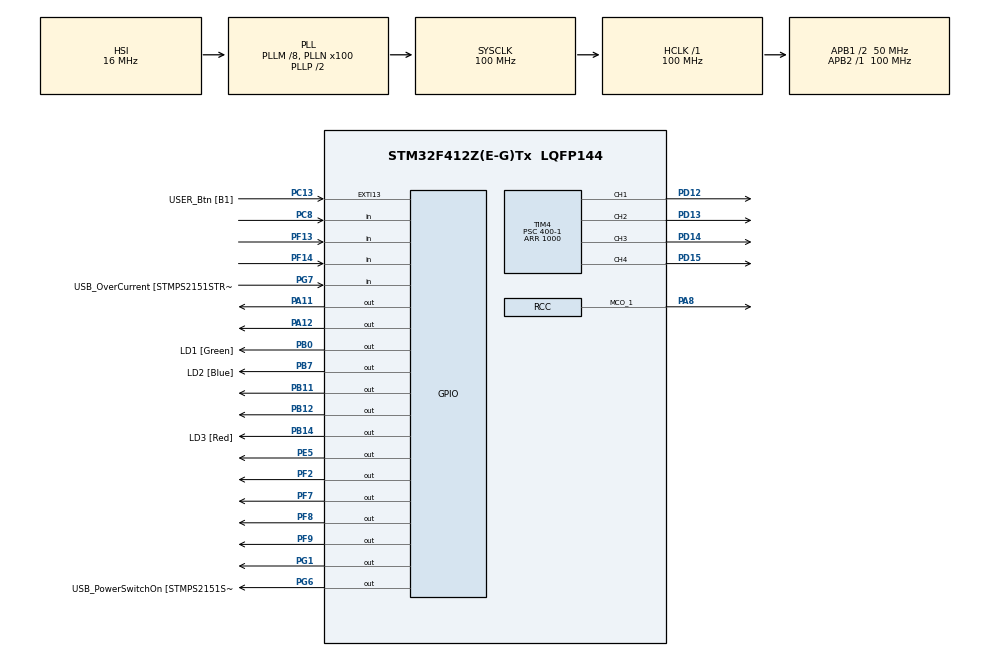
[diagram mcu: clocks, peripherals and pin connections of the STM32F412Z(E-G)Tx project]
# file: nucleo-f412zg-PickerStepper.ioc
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Mcu.Family=STM32F4
Mcu.Name=STM32F412Z(E-G)Tx
Mcu.Package=LQFP144
NVIC.PriorityGroup=NVIC_PRIORITYGROUP_4
NVIC.TIM8_TRG_COM_TIM14_IRQn=true\:15\:0\:false\:false\:true\:false\:true\:true
NVIC.TimeBase=TIM8_TRG_COM_TIM14_IRQn
NVIC.TimeBaseIP=TIM14
PA11.Signal=GPIO_Output
PA12.Signal=GPIO_Output
PA13.GPIO_Label=TMS
PA13.Mode=Serial_Wire
PA13.Signal=SYS_JTMS-SWDIO
PA14.GPIO_Label=TCK
PA14.Mode=Serial_Wire
PA14.Signal=SYS_JTCK-SWCLK
PA8.Mode=Clock-out-1
PA8.Signal=RCC_MCO_1
PB0.GPIO_Label=LD1 [Green]
PB0.Signal=GPIO_Output
PB11.Signal=GPIO_Output
PB12.Signal=GPIO_Output
PB14.GPIO_Label=LD3 [Red]
PB14.Signal=GPIO_Output
PB3.GPIO_Label=SWO
PB3.Signal=SYS_JTDO-SWO
PB7.GPIO_Label=LD2 [Blue]
PB7.Signal=GPIO_Output
PC13.GPIO_Label=USER_Btn [B1]
PC13.Signal=GPXTI13
PC14-OSC32_IN.Mode=LSE-External-Oscillator
PC14-OSC32_IN.Signal=RCC_OSC32_IN
PC15-OSC32_OUT.Mode=LSE-External-Oscillator
PC15-OSC32_OUT.Signal=RCC_OSC32_OUT
PC8.Signal=GPIO_Input
PD12.Signal=S_TIM4_CH1
PD13.Signal=S_TIM4_CH2
PD14.Signal=S_TIM4_CH3
PD15.Signal=S_TIM4_CH4
PD8.GPIO_Label=STLK_RX [STM32F103CBT6_PA3]
PD8.Signal=USART3_TX
PD9.GPIO_Label=STLK_TX [STM32F103CBT6_PA2]
PD9.Signal=USART3_RX
PE5.Signal=GPIO_Output
PF13.GPIO_PuPd=GPIO_PULLDOWN
PF13.Signal=GPIO_Input
PF14.GPIO_PuPd=GPIO_PULLDOWN
PF14.Signal=GPIO_Input
PF2.Signal=GPIO_Output
PF7.Signal=GPIO_Output
PF8.GPIO_ModeDefaultOutputPP=GPIO_MODE_OUTPUT_PP
PF8.GPIO_PuPd=GPIO_NOPULL
PF8.GPIO_Speed=GPIO_SPEED_FREQ_LOW
PF8.PinState=GPIO_PIN_RESET
PF8.Signal=GPIO_Output
PF9.Signal=GPIO_Output
PG1.Signal=GPIO_Output
PG6.GPIO_Label=USB_PowerSwitchOn [STMPS2151STR_EN]
PG6.Signal=GPIO_Output
PG7.GPIO_Label=USB_OverCurrent [STMPS2151STR_FAULT]
PG7.Signal=GPIO_Input
PH0\ -\ OSC_IN.GPIO_Label=MCO
PH0\ -\ OSC_IN.Mode=HSE-External-Oscillator
PH0\ -\ OSC_IN.Signal=RCC_OSC_IN
PH1\ -\ OSC_OUT.Mode=HSE-External-Oscillator
PH1\ -\ OSC_OUT.Signal=RCC_OSC_OUT
ProjectManager.HeapSize=0x200
ProjectManager.StackSize=0x400
ProjectManager.TargetToolchain=STM32CubeIDE
RCC.48MHZClocksFreq_Value=24000000
RCC.AHBFreq_Value=100000000
RCC.APB1CLKDivider=RCC_HCLK_DIV2
RCC.APB1Freq_Value=50000000
RCC.APB1TimFreq_Value=100000000
RCC.APB2Freq_Value=100000000
RCC.APB2TimFreq_Value=100000000
RCC.CortexFreq_Value=100000000
RCC.HCLKFreq_Value=100000000
RCC.HSE_VALUE=8000000
RCC.HSI_VALUE=16000000
RCC.PLLM=8
RCC.PLLMUL=RCC_PLL_MUL9
RCC.PLLN=100
RCC.PLLQ=8
RCC.PRESCALERUSB=RCC_USBCLKSOURCE_PLL_DIV1_5
RCC.SYSCLKFreq_VALUE=100000000
RCC.SYSCLKSource=RCC_SYSCLKSOURCE_PLLCLK
RCC.SYSCLKSourceVirtual=RCC_SYSCLKSOURCE_PLLCLK
RCC.USBFreq_Value=25000000
RCC.VCOOutputFreq_Value=200000000
SH.S_TIM4_CH1.0=TIM4_CH1,PWM Generation1 CH1
SH.S_TIM4_CH2.0=TIM4_CH2,PWM Generation2 CH2
SH.S_TIM4_CH3.0=TIM4_CH3,PWM Generation3 CH3
SH.S_TIM4_CH4.0=TIM4_CH4,PWM Generation4 CH4
TIM4.Channel-PWM\ Generation1\ CH1=TIM_CHANNEL_1
TIM4.Channel-PWM\ Generation2\ CH2=TIM_CHANNEL_2
TIM4.Channel-PWM\ Generation3\ CH3=TIM_CHANNEL_3
TIM4.Channel-PWM\ Generation4\ CH4=TIM_CHANNEL_4
TIM4.Period=1000
TIM4.Prescaler=400-1
TIM4.Pulse-PWM\ Generation1\ CH1=500
TIM4.Pulse-PWM\ Generation2\ CH2=500
TIM4.Pulse-PWM\ Generation3\ CH3=500
TIM4.Pulse-PWM\ Generation4\ CH4=500
VP_SYS_VS_tim14.Mode=TIM14
board=NUCLEO-F412ZG

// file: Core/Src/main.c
/* USER CODE BEGIN Header */
/**
 ******************************************************************************
 * @file           : main.c
 * @brief          : Main program body
 ******************************************************************************
 * @attention
 *
 * Copyright (c) 2023 STMicroelectronics.
 * All rights reserved.
 *
 * This software is licensed under terms that can be found in the LICENSE file
 * in the root directory of this software component.
 * If no LICENSE file comes with this software, it is provided AS-IS.
 *
 ******************************************************************************
 */
/* USER CODE END Header */
#include "main.h"

/* USER CODE BEGIN Includes */
#include <stdbool.h>
#include <stdio.h>
/* USER CODE END Includes */

TIM_HandleTypeDef htim4;

void SystemClock_Config(void);
static void MX_GPIO_Init(void);
static void MX_TIM4_Init(void);

int main(void)
{

	/* MCU Configuration--------------------------------------------------------*/

	/* Reset of all peripherals, Initializes the Flash interface and the Systick. */
	HAL_Init();

	/* Configure the system clock */
	SystemClock_Config();

	/* Initialize all configured peripherals */
	MX_GPIO_Init();
	MX_TIM4_Init();
	/* USER CODE BEGIN 2 */
	int inputt0 = 0;
	int inputt1 = 0;
	int inputt2 = 0;
	int inputt3 = 0;
	int inputt4 = 0;
	int inputt5 = 0;
	int inputt6 = 0;
	int inputt7 = 0;
	int inputSum;

	int sense0 = 0;
	int sense1 = 0;
	int sense2 = 0;
	int sense3 = 0;
	int sense4 = 0;
	int sense5 = 0;
	int sense6 = 0;
	int sense7 = 0;

	int moveDirection = 0;

	int state = 0;
	// step time in ms
	// 1 ms = 1 pulse
	int moveTime = 5000;

	HAL_GPIO_WritePin(GPIOB, GPIO_PIN_12, 0);
	HAL_GPIO_WritePin(GPIOB, GPIO_PIN_11, 0);
	HAL_GPIO_WritePin(GPIOA, GPIO_PIN_12, 0);
	HAL_GPIO_WritePin(GPIOA, GPIO_PIN_11, 0);

	HAL_Delay(10000);
	/* USER CODE END 2 */

	/* Infinite loop */
	/* USER CODE BEGIN WHILE */
	while (1)
	{
		// super loop begin
		// read status of 2 control pins
		// on rising edge of pin 1, move by a set amount at a set speed
		// pin 2 determines move direction
		// 4 pwm pins to control 4 stepper drivers
		// 5V pins are labelled as FT pins on the datasheet
		// LQFP144
		// CL57T notes
		// minimum pulse width: 2.5us high, 2.5us low ---> 200 Khz max frequency
		// ENA first, then DIR, then PUL
		// pick pulses per revolution 1600
		// Gearbox ratio: 20 or 10 to 1
		// input pins:
		// input = F13, dir input = F14
		// PUL = PE9, PE11, PE13, PE14
		// ENA = PG1
		// DIR = PF8, PF9, PF2, PE5
		/* USER CODE END WHILE */

		/* USER CODE BEGIN 3 */
		switch (state){
		case 0:
			// turn on red led
			HAL_GPIO_WritePin(GPIOB, GPIO_PIN_14, 1);
			// listening state
			inputt7 = 0;
			inputt6 = 0;
			inputt5 = 0;
			inputt4 = 0;
			inputt3 = 0;
			inputt2 = 0;
			inputt1 = 0;
			inputt0 = 0;

			while (state == 0){
				// Read Rising edge of pin 13
				inputt7 = inputt6;
				inputt6 = inputt5;
				inputt5 = inputt4;
				inputt4 = inputt3;
				inputt3 = inputt2;
				inputt2 = inputt1;
				inputt1 = inputt0;
				inputt0 = HAL_GPIO_ReadPin(GPIOF, GPIO_PIN_13);

				inputSum = inputt1 + inputt2 + inputt3 + inputt4 + inputt5 + inputt6;
				if (inputt0 == 0 && inputt7 == 0 && inputSum > 3){
					// get direction
					moveDirection = HAL_GPIO_ReadPin(GPIOF, GPIO_PIN_14);
					state = 1;
				}

				HAL_Delay(3);
			}
			// turn off red led
			HAL_GPIO_WritePin(GPIOB, GPIO_PIN_14, 0);
			break;
		case 1:
			// move state

			sense0 = 1;
			sense1 = 1;
			sense2 = 1;
			sense3 = 1;
			sense4 = 1;
			sense5 = 1;
			sense6 = 1;
			sense7 = 1;

			// set direction
			HAL_GPIO_WritePin(GPIOB, GPIO_PIN_11, moveDirection);
			HAL_GPIO_WritePin(GPIOB, GPIO_PIN_12, moveDirection);
			HAL_GPIO_WritePin(GPIOA, GPIO_PIN_11, moveDirection);
			HAL_GPIO_WritePin(GPIOA, GPIO_PIN_12, moveDirection);

			// wait 10ms for stepper drivers
			HAL_Delay(10);

			// Turn on LED
			if (moveDirection){
				// toggle green LED
				HAL_GPIO_TogglePin(GPIOB, GPIO_PIN_7);
			} else {
				// toggle blue LED
				HAL_GPIO_TogglePin(GPIOB, GPIO_PIN_0);
			}

			// Start PWM
			// Do not use TIM1 (PE9, PE11, PE13, PE14)
			// TIM4 (PD15,PD12, PD13, PD14)
			HAL_TIM_PWM_Start(&htim4, TIM_CHANNEL_1);
			HAL_TIM_PWM_Start(&htim4, TIM_CHANNEL_2);
			HAL_TIM_PWM_Start(&htim4, TIM_CHANNEL_3);
			HAL_TIM_PWM_Start(&htim4, TIM_CHANNEL_4);

			// if sensor is tripped, stop moving
			while (state == 1){
				sense7 = sense6;
				sense6 = sense5;
				sense5 = sense4;
				sense4 = sense3;
				sense3 = sense2;
				sense2 = sense1;
				sense1 = sense0;
				sense0 = HAL_GPIO_ReadPin(GPIOC, GPIO_PIN_8);

				HAL_Delay(5);

				if ((sense0 + sense1 + sense2 + sense3 + sense4 + sense5 + sense6 + sense7) == 0){
					state = 0;
				}
			}

			// Turn off LED
			if (moveDirection){
				// toggle green LED
				HAL_GPIO_TogglePin(GPIOB, GPIO_PIN_7);
			} else {
				// toggle blue LED
				HAL_GPIO_TogglePin(GPIOB, GPIO_PIN_0);
			}

			// Stop PWM
			HAL_TIM_PWM_Stop(&htim4, TIM_CHANNEL_1);
			HAL_TIM_PWM_Stop(&htim4, TIM_CHANNEL_2);
			HAL_TIM_PWM_Stop(&htim4, TIM_CHANNEL_3);
			HAL_TIM_PWM_Stop(&htim4, TIM_CHANNEL_4);

			state = 0;
			break;
		}
	}
	/* USER CODE END 3 */
}

void SystemClock_Config(void)
{
	RCC_OscInitTypeDef RCC_OscInitStruct = {0};
	RCC_ClkInitTypeDef RCC_ClkInitStruct = {0};

	/** Configure the main internal regulator output voltage
	 */
	__HAL_RCC_PWR_CLK_ENABLE();
	__HAL_PWR_VOLTAGESCALING_CONFIG(PWR_REGULATOR_VOLTAGE_SCALE1);

	/** Initializes the RCC Oscillators according to the specified parameters
	 * in the RCC_OscInitTypeDef structure.
	 */
	RCC_OscInitStruct.OscillatorType = RCC_OSCILLATORTYPE_HSI;
	RCC_OscInitStruct.HSIState = RCC_HSI_ON;
	RCC_OscInitStruct.HSICalibrationValue = RCC_HSICALIBRATION_DEFAULT;
	RCC_OscInitStruct.PLL.PLLState = RCC_PLL_ON;
	RCC_OscInitStruct.PLL.PLLSource = RCC_PLLSOURCE_HSI;
	RCC_OscInitStruct.PLL.PLLM = 8;
	RCC_OscInitStruct.PLL.PLLN = 100;
	RCC_OscInitStruct.PLL.PLLP = RCC_PLLP_DIV2;
	RCC_OscInitStruct.PLL.PLLQ = 8;
	RCC_OscInitStruct.PLL.PLLR = 2;
	if (HAL_RCC_OscConfig(&RCC_OscInitStruct) != HAL_OK)
	{
		Error_Handler();
	}

	/** Initializes the CPU, AHB and APB buses clocks
	 */
	RCC_ClkInitStruct.ClockType = RCC_CLOCKTYPE_HCLK|RCC_CLOCKTYPE_SYSCLK
			|RCC_CLOCKTYPE_PCLK1|RCC_CLOCKTYPE_PCLK2;
	RCC_ClkInitStruct.SYSCLKSource = RCC_SYSCLKSOURCE_PLLCLK;
	RCC_ClkInitStruct.AHBCLKDivider = RCC_SYSCLK_DIV1;
	RCC_ClkInitStruct.APB1CLKDivider = RCC_HCLK_DIV2;
	RCC_ClkInitStruct.APB2CLKDivider = RCC_HCLK_DIV1;

	if (HAL_RCC_ClockConfig(&RCC_ClkInitStruct, FLASH_LATENCY_3) != HAL_OK)
	{
		Error_Handler();
	}
	HAL_RCC_MCOConfig(RCC_MCO1, RCC_MCO1SOURCE_HSI, RCC_MCODIV_1);
}

static void MX_TIM4_Init(void)
{

	TIM_MasterConfigTypeDef sMasterConfig = {0};
	TIM_OC_InitTypeDef sConfigOC = {0};

	htim4.Instance = TIM4;
	htim4.Init.Prescaler = 400-1;
	htim4.Init.CounterMode = TIM_COUNTERMODE_UP;
	htim4.Init.Period = 1000;
	htim4.Init.ClockDivision = TIM_CLOCKDIVISION_DIV1;
	htim4.Init.AutoReloadPreload = TIM_AUTORELOAD_PRELOAD_DISABLE;
	if (HAL_TIM_PWM_Init(&htim4) != HAL_OK)
	{
		Error_Handler();
	}
	sMasterConfig.MasterOutputTrigger = TIM_TRGO_RESET;
	sMasterConfig.MasterSlaveMode = TIM_MASTERSLAVEMODE_DISABLE;
	if (HAL_TIMEx_MasterConfigSynchronization(&htim4, &sMasterConfig) != HAL_OK)
	{
		Error_Handler();
	}
	sConfigOC.OCMode = TIM_OCMODE_PWM1;
	sConfigOC.Pulse = 500;
	sConfigOC.OCPolarity = TIM_OCPOLARITY_HIGH;
	sConfigOC.OCFastMode = TIM_OCFAST_DISABLE;
	if (HAL_TIM_PWM_ConfigChannel(&htim4, &sConfigOC, TIM_CHANNEL_1) != HAL_OK)
	{
		Error_Handler();
	}
	if (HAL_TIM_PWM_ConfigChannel(&htim4, &sConfigOC, TIM_CHANNEL_2) != HAL_OK)
	{
		Error_Handler();
	}
	if (HAL_TIM_PWM_ConfigChannel(&htim4, &sConfigOC, TIM_CHANNEL_3) != HAL_OK)
	{
		Error_Handler();
	}
	if (HAL_TIM_PWM_ConfigChannel(&htim4, &sConfigOC, TIM_CHANNEL_4) != HAL_OK)
	{
		Error_Handler();
	}
	HAL_TIM_MspPostInit(&htim4);

}

static void MX_GPIO_Init(void)
{
	GPIO_InitTypeDef GPIO_InitStruct = {0};

	/* GPIO Ports Clock Enable */
	__HAL_RCC_GPIOE_CLK_ENABLE();
	__HAL_RCC_GPIOC_CLK_ENABLE();
	__HAL_RCC_GPIOF_CLK_ENABLE();
	__HAL_RCC_GPIOH_CLK_ENABLE();
	__HAL_RCC_GPIOB_CLK_ENABLE();
	__HAL_RCC_GPIOG_CLK_ENABLE();
	__HAL_RCC_GPIOD_CLK_ENABLE();
	__HAL_RCC_GPIOA_CLK_ENABLE();

	/*Configure GPIO pin Output Level */
	HAL_GPIO_WritePin(GPIOE, GPIO_PIN_5, GPIO_PIN_RESET);

	/*Configure GPIO pin Output Level */
	HAL_GPIO_WritePin(GPIOF, GPIO_PIN_2|GPIO_PIN_7|GPIO_PIN_8|GPIO_PIN_9, GPIO_PIN_RESET);

	/*Configure GPIO pin Output Level */
	HAL_GPIO_WritePin(GPIOB, LD1_Pin|GPIO_PIN_11|GPIO_PIN_12|LD3_Pin
			|LD2_Pin, GPIO_PIN_RESET);

	/*Configure GPIO pin Output Level */
	HAL_GPIO_WritePin(GPIOG, GPIO_PIN_1|USB_PowerSwitchOn_Pin, GPIO_PIN_RESET);

	/*Configure GPIO pin Output Level */
	HAL_GPIO_WritePin(GPIOA, GPIO_PIN_11|GPIO_PIN_12, GPIO_PIN_RESET);

	/*Configure GPIO pin : PE5 */
	GPIO_InitStruct.Pin = GPIO_PIN_5;
	GPIO_InitStruct.Mode = GPIO_MODE_OUTPUT_PP;
	GPIO_InitStruct.Pull = GPIO_NOPULL;
	GPIO_InitStruct.Speed = GPIO_SPEED_FREQ_LOW;
	HAL_GPIO_Init(GPIOE, &GPIO_InitStruct);

	/*Configure GPIO pin : USER_Btn_Pin */
	GPIO_InitStruct.Pin = USER_Btn_Pin;
	GPIO_InitStruct.Mode = GPIO_MODE_IT_RISING;
	GPIO_InitStruct.Pull = GPIO_NOPULL;
	HAL_GPIO_Init(USER_Btn_GPIO_Port, &GPIO_InitStruct);

	/*Configure GPIO pins : PF2 PF7 PF8 PF9 */
	GPIO_InitStruct.Pin = GPIO_PIN_2|GPIO_PIN_7|GPIO_PIN_8|GPIO_PIN_9;
	GPIO_InitStruct.Mode = GPIO_MODE_OUTPUT_PP;
	GPIO_InitStruct.Pull = GPIO_NOPULL;
	GPIO_InitStruct.Speed = GPIO_SPEED_FREQ_LOW;
	HAL_GPIO_Init(GPIOF, &GPIO_InitStruct);

	/*Configure GPIO pins : LD1_Pin PB11 PB12 LD3_Pin
                           LD2_Pin */
	GPIO_InitStruct.Pin = LD1_Pin|GPIO_PIN_11|GPIO_PIN_12|LD3_Pin
			|LD2_Pin;
	GPIO_InitStruct.Mode = GPIO_MODE_OUTPUT_PP;
	GPIO_InitStruct.Pull = GPIO_NOPULL;
	GPIO_InitStruct.Speed = GPIO_SPEED_FREQ_LOW;
	HAL_GPIO_Init(GPIOB, &GPIO_InitStruct);

	/*Configure GPIO pins : PF13 PF14 */
	GPIO_InitStruct.Pin = GPIO_PIN_13|GPIO_PIN_14;
	GPIO_InitStruct.Mode = GPIO_MODE_INPUT;
	GPIO_InitStruct.Pull = GPIO_PULLDOWN;
	HAL_GPIO_Init(GPIOF, &GPIO_InitStruct);

	/*Configure GPIO pins : PG1 USB_PowerSwitchOn_Pin */
	GPIO_InitStruct.Pin = GPIO_PIN_1|USB_PowerSwitchOn_Pin;
	GPIO_InitStruct.Mode = GPIO_MODE_OUTPUT_PP;
	GPIO_InitStruct.Pull = GPIO_NOPULL;
	GPIO_InitStruct.Speed = GPIO_SPEED_FREQ_LOW;
	HAL_GPIO_Init(GPIOG, &GPIO_InitStruct);

	/*Configure GPIO pins : STLK_RX_Pin STLK_TX_Pin */
	GPIO_InitStruct.Pin = STLK_RX_Pin|STLK_TX_Pin;
	GPIO_InitStruct.Mode = GPIO_MODE_AF_PP;
	GPIO_InitStruct.Pull = GPIO_NOPULL;
	GPIO_InitStruct.Speed = GPIO_SPEED_FREQ_VERY_HIGH;
	GPIO_InitStruct.Alternate = GPIO_AF7_USART3;
	HAL_GPIO_Init(GPIOD, &GPIO_InitStruct);

	/*Configure GPIO pin : USB_OverCurrent_Pin */
	GPIO_InitStruct.Pin = USB_OverCurrent_Pin;
	GPIO_InitStruct.Mode = GPIO_MODE_INPUT;
	GPIO_InitStruct.Pull = GPIO_NOPULL;
	HAL_GPIO_Init(USB_OverCurrent_GPIO_Port, &GPIO_InitStruct);

	/*Configure GPIO pin : PC8 */
	GPIO_InitStruct.Pin = GPIO_PIN_8;
	GPIO_InitStruct.Mode = GPIO_MODE_INPUT;
	GPIO_InitStruct.Pull = GPIO_NOPULL;
	HAL_GPIO_Init(GPIOC, &GPIO_InitStruct);

	/*Configure GPIO pin : PA8 */
	GPIO_InitStruct.Pin = GPIO_PIN_8;
	GPIO_InitStruct.Mode = GPIO_MODE_AF_PP;
	GPIO_InitStruct.Pull = GPIO_NOPULL;
	GPIO_InitStruct.Speed = GPIO_SPEED_FREQ_LOW;
	GPIO_InitStruct.Alternate = GPIO_AF0_MCO;
	HAL_GPIO_Init(GPIOA, &GPIO_InitStruct);

	/*Configure GPIO pins : PA11 PA12 */
	GPIO_InitStruct.Pin = GPIO_PIN_11|GPIO_PIN_12;
	GPIO_InitStruct.Mode = GPIO_MODE_OUTPUT_PP;
	GPIO_InitStruct.Pull = GPIO_NOPULL;
	GPIO_InitStruct.Speed = GPIO_SPEED_FREQ_LOW;
	HAL_GPIO_Init(GPIOA, &GPIO_InitStruct);

}

void HAL_TIM_PeriodElapsedCallback(TIM_HandleTypeDef *htim)
{
	if (htim->Instance == TIM14) {
		HAL_IncTick();
	}
}

void Error_Handler(void)
{
	__disable_irq();
	while (1)
	{
	}
}
